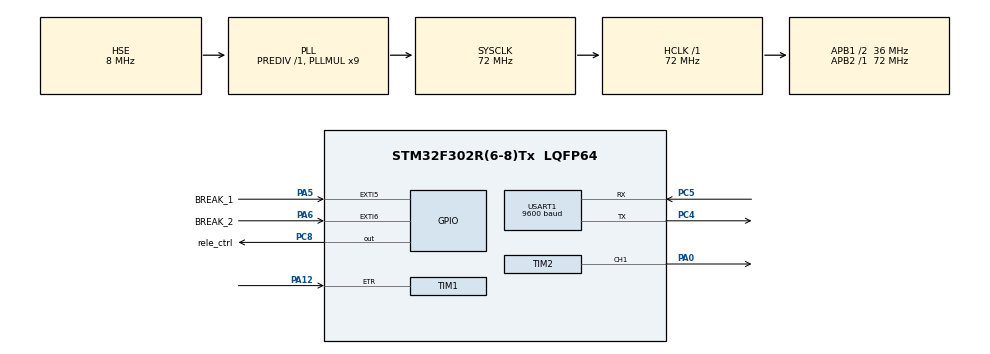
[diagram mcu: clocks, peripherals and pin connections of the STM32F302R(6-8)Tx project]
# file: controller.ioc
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FREERTOS.Queues01=input_queue,16,command,0,Dynamic,NULL,NULL;bluetooth_queue,16,char*,0,Dynamic,NULL,NULL
FREERTOS.Tasks01=bluetooth_task,24,128,BT_reader_funct,Default,NULL,Dynamic,NULL,NULL;motor_ctrl,24,128,MT_controller_funct,Default,NULL,Dynamic,NULL,NULL;sensors_task,8,128,Sensor_reader_funct,Default,NULL,Dynamic,NULL,NULL
FREERTOS.Timers01=timer_trava,callback_timer_trava,osTimerOnce,Default,NULL,Dynamic,NULL
FREERTOS.configLIBRARY_MAX_SYSCALL_INTERRUPT_PRIORITY=5
FREERTOS.configUSE_NEWLIB_REENTRANT=1
Mcu.Family=STM32F3
Mcu.Name=STM32F302R(6-8)Tx
Mcu.Package=LQFP64
Mcu.UserConstants=PulsesPerRound,12;pedal_max,15;pedal_min,3;pwm_max,200;pwm_min,100;minute,60000
NVIC.EXTI9_5_IRQn=true\:5\:0\:false\:false\:true\:true\:true\:true\:true
NVIC.PriorityGroup=NVIC_PRIORITYGROUP_4
NVIC.RTC_Alarm_IRQn=true\:5\:0\:false\:false\:true\:true\:true\:true\:true
NVIC.TIM6_DAC_IRQn=true\:15\:0\:false\:false\:true\:false\:false\:true\:true
NVIC.TimeBase=TIM6_DAC_IRQn
NVIC.TimeBaseIP=TIM6
PA0.Signal=S_TIM2_CH1_ETR
PA12.GPIO_PuPd=GPIO_PULLUP
PA12.Signal=S_TIM1_ETR
PA13.Mode=Trace_Asynchronous_SW
PA13.Signal=SYS_JTMS-SWDIO
PA14.Mode=Trace_Asynchronous_SW
PA14.Signal=SYS_JTCK-SWCLK
PA5.GPIO_Label=BREAK_1
PA5.GPIO_ModeDefaultEXTI=GPIO_MODE_IT_RISING
PA5.GPIO_PuPd=GPIO_PULLUP
PA5.Signal=GPXTI5
PA6.GPIO_Label=BREAK_2
PA6.GPIO_ModeDefaultEXTI=GPIO_MODE_IT_RISING_FALLING
PA6.GPIO_PuPd=GPIO_PULLUP
PA6.Signal=GPXTI6
PB3.Mode=Trace_Asynchronous_SW
PB3.Signal=SYS_JTDO-TRACESWO
PC4.Mode=Asynchronous
PC4.Signal=USART1_TX
PC5.Mode=Asynchronous
PC5.Signal=USART1_RX
PC8.GPIO_Label=rele_ctrl
PC8.PinState=GPIO_PIN_SET
PC8.Signal=GPIO_Output
PF0-OSC_IN.Mode=HSE-External-Oscillator
PF0-OSC_IN.Signal=RCC_OSC_IN
PF1-OSC_OUT.Mode=HSE-External-Oscillator
PF1-OSC_OUT.Signal=RCC_OSC_OUT
ProjectManager.HeapSize=0x200
ProjectManager.StackSize=0x400
ProjectManager.TargetToolchain=STM32CubeIDE
RCC.AHBFreq_Value=72000000
RCC.APB1CLKDivider=RCC_HCLK_DIV2
RCC.APB1Freq_Value=36000000
RCC.APB1TimFreq_Value=72000000
RCC.APB2Freq_Value=72000000
RCC.APB2TimFreq_Value=72000000
RCC.CortexFreq_Value=72000000
RCC.HCLKFreq_Value=72000000
RCC.HSE_VALUE=8000000
RCC.HSI_VALUE=8000000
RCC.LSE_VALUE=32768
RCC.PLLMUL=RCC_PLL_MUL9
RCC.PLLSourceVirtual=RCC_PLLSOURCE_HSE
RCC.SYSCLKFreq_VALUE=72000000
RCC.SYSCLKSourceVirtual=RCC_SYSCLKSOURCE_PLLCLK
RCC.USBFreq_Value=72000000
RTC.Alarm-Alarm\ A=RTC_ALARM_A
RTC.AlarmDateWeekDay-Alarm\ A=7
RTC.AlarmDateWeekDaySel-Alarm\ A=RTC_ALARMDATEWEEKDAYSEL_DATE
RTC.Hours_A-Alarm\ A=23
RTC.Minutes_A-Alarm\ A=59
RTC.Seconds_A-Alarm\ A=59
SH.S_TIM1_ETR.0=TIM1_ETR,ClockSourceETR_Mode2
SH.S_TIM2_CH1_ETR.0=TIM2_CH1,PWM Generation1 CH1
TIM1.ClockFilter=15
TIM1.ClockPolarity=TIM_CLOCKPOLARITY_INVERTED
TIM2.Channel-PWM\ Generation1\ CH1=TIM_CHANNEL_1
TIM2.Period=1000
TIM2.Prescaler=720
USART1.BaudRate=9600
USART1.VirtualMode-Asynchronous=VM_ASYNC
VP_FREERTOS_VS_CMSIS_V2.Mode=CMSIS_V2
VP_RTC_VS_RTC_Activate.Mode=RTC_Enabled
VP_RTC_VS_RTC_Alarm_A_Intern.Mode=Alarm A
VP_RTC_VS_RTC_Calendar.Mode=RTC_Calendar
VP_SYS_VS_tim6.Mode=TIM6
VP_TIM2_VS_ClockSourceINT.Mode=Internal
board=custom

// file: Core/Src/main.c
/* USER CODE BEGIN Header */
/* USER CODE END Header */
#include "main.h"
#include "cmsis_os.h"

/* USER CODE BEGIN Includes */
#include <string.h>
#include <stdio.h>
/* USER CODE END Includes */

/* USER CODE BEGIN PM */

/**
Struct to define the commands between tasks and the bluetooth
*/
typedef struct {
	 int button_id;
	 int button_status;
	 float sensor_value;
} command;

/**
This function is to convert the status mesages from FreeRTOS
into strings to be sent via bluetooth in case of error
*/
char* osStatusToString(osStatus_t status) {
    switch (status) {
        case osOK:
            return "OK: Operation completed successfully\r\n";
        case osError:
            return "osError: Unspecified error\r\n";
        case osErrorTimeout:
            return "Timeout: osErrorTimeout:  Operation timed out\r\n";
        case osErrorResource:
            return "Resource: osErrorResource: Resource not available\r\n";
        case osErrorParameter:
            return "Parameter: osErrorParameter: Parameter error\r\n";
        case osErrorNoMemory:
            return "NoMemory: osErrorNoMemory: System is out of memory\r\n";
        default:
            return "Unknown osStatus_t\r\n";
    }
}

/**
Simple function to map the values beetween the pedal sensor and the motor PWM
Later it should take in consideration other sensors such as gyro

The constants used in this function are defined in the main.h file
but should be edited via the controller.ioc file
*/
float MAP(float int_IN)
{
	 if (int_IN < pedal_min){return pwm_min;}
	 else if (int_IN > pedal_max){return pwm_max;}
	 else{
		return ((((int_IN - pedal_min)*(pwm_max - pwm_min))/(pedal_max - pedal_min)) + pwm_min);
	 }
}

/* USER CODE END PM */

RTC_HandleTypeDef hrtc;

TIM_HandleTypeDef htim1;
TIM_HandleTypeDef htim2;

UART_HandleTypeDef huart1;

/* Definitions for bluetooth_task */
osThreadId_t bluetooth_taskHandle;
const osThreadAttr_t bluetooth_task_attributes = {
  .name = "bluetooth_task",
  .stack_size = 128 * 4,
  .priority = (osPriority_t) osPriorityNormal,
};
/* Definitions for motor_ctrl */
osThreadId_t motor_ctrlHandle;
const osThreadAttr_t motor_ctrl_attributes = {
  .name = "motor_ctrl",
  .stack_size = 128 * 4,
  .priority = (osPriority_t) osPriorityNormal,
};
/* Definitions for sensors_task */
osThreadId_t sensors_taskHandle;
const osThreadAttr_t sensors_task_attributes = {
  .name = "sensors_task",
  .stack_size = 128 * 4,
  .priority = (osPriority_t) osPriorityLow,
};
/* Definitions for input_queue */
osMessageQueueId_t input_queueHandle;
const osMessageQueueAttr_t input_queue_attributes = {
  .name = "input_queue"
};
/* Definitions for bluetooth_queue */
osMessageQueueId_t bluetooth_queueHandle;
const osMessageQueueAttr_t bluetooth_queue_attributes = {
  .name = "bluetooth_queue"
};
/* Definitions for timer_trava */
osTimerId_t timer_travaHandle;
const osTimerAttr_t timer_trava_attributes = {
  .name = "timer_trava"
};

void SystemClock_Config(void);
static void MX_GPIO_Init(void);
static void MX_USART1_UART_Init(void);
static void MX_TIM1_Init(void);
static void MX_TIM2_Init(void);
static void MX_RTC_Init(void);
void BT_reader_funct(void *argument);
void MT_controller_funct(void *argument);
void Sensor_reader_funct(void *argument);
void callback_timer_trava(void *argument);

int main(void)
{

  /* MCU Configuration--------------------------------------------------------*/

  /* Reset of all peripherals, Initializes the Flash interface and the Systick. */
  HAL_Init();

  /* Configure the system clock */
  SystemClock_Config();

  /* Initialize all configured peripherals */
  MX_GPIO_Init();
  MX_USART1_UART_Init();
  MX_TIM1_Init();
  MX_TIM2_Init();
  MX_RTC_Init();

  /* Init scheduler */
  osKernelInitialize();

  /* Create the timer(s) */
  /* creation of timer_trava */
  timer_travaHandle = osTimerNew(callback_timer_trava, osTimerOnce, NULL, &timer_trava_attributes);

  /* Create the queue(s) */
  /* creation of input_queue */
  input_queueHandle = osMessageQueueNew (16, sizeof(command), &input_queue_attributes);

  /* creation of bluetooth_queue */
  bluetooth_queueHandle = osMessageQueueNew (16, sizeof(char*), &bluetooth_queue_attributes);

  /* Create the thread(s) */
  /* creation of bluetooth_task */
  bluetooth_taskHandle = osThreadNew(BT_reader_funct, NULL, &bluetooth_task_attributes);

  /* creation of motor_ctrl */
  motor_ctrlHandle = osThreadNew(MT_controller_funct, NULL, &motor_ctrl_attributes);

  /* creation of sensors_task */
  sensors_taskHandle = osThreadNew(Sensor_reader_funct, NULL, &sensors_task_attributes);

  /* Start scheduler */
  osKernelStart();

  /* We should never get here as control is now taken by the scheduler */
  /* Infinite loop */

}

void SystemClock_Config(void)
{
  RCC_OscInitTypeDef RCC_OscInitStruct = {0};
  RCC_ClkInitTypeDef RCC_ClkInitStruct = {0};
  RCC_PeriphCLKInitTypeDef PeriphClkInit = {0};

  /** Initializes the RCC Oscillators according to the specified parameters
  * in the RCC_OscInitTypeDef structure.
  */
  RCC_OscInitStruct.OscillatorType = RCC_OSCILLATORTYPE_LSI|RCC_OSCILLATORTYPE_HSE;
  RCC_OscInitStruct.HSEState = RCC_HSE_ON;
  RCC_OscInitStruct.HSEPredivValue = RCC_HSE_PREDIV_DIV1;
  RCC_OscInitStruct.HSIState = RCC_HSI_ON;
  RCC_OscInitStruct.LSIState = RCC_LSI_ON;
  RCC_OscInitStruct.PLL.PLLState = RCC_PLL_ON;
  RCC_OscInitStruct.PLL.PLLSource = RCC_PLLSOURCE_HSE;
  RCC_OscInitStruct.PLL.PLLMUL = RCC_PLL_MUL9;
  if (HAL_RCC_OscConfig(&RCC_OscInitStruct) != HAL_OK)
  {
    Error_Handler();
  }

  /** Initializes the CPU, AHB and APB buses clocks
  */
  RCC_ClkInitStruct.ClockType = RCC_CLOCKTYPE_HCLK|RCC_CLOCKTYPE_SYSCLK
                              |RCC_CLOCKTYPE_PCLK1|RCC_CLOCKTYPE_PCLK2;
  RCC_ClkInitStruct.SYSCLKSource = RCC_SYSCLKSOURCE_PLLCLK;
  RCC_ClkInitStruct.AHBCLKDivider = RCC_SYSCLK_DIV1;
  RCC_ClkInitStruct.APB1CLKDivider = RCC_HCLK_DIV2;
  RCC_ClkInitStruct.APB2CLKDivider = RCC_HCLK_DIV1;

  if (HAL_RCC_ClockConfig(&RCC_ClkInitStruct, FLASH_LATENCY_2) != HAL_OK)
  {
    Error_Handler();
  }
  PeriphClkInit.PeriphClockSelection = RCC_PERIPHCLK_USART1|RCC_PERIPHCLK_RTC
                              |RCC_PERIPHCLK_TIM1;
  PeriphClkInit.Usart1ClockSelection = RCC_USART1CLKSOURCE_PCLK1;
  PeriphClkInit.RTCClockSelection = RCC_RTCCLKSOURCE_LSI;
  PeriphClkInit.Tim1ClockSelection = RCC_TIM1CLK_HCLK;
  if (HAL_RCCEx_PeriphCLKConfig(&PeriphClkInit) != HAL_OK)
  {
    Error_Handler();
  }
}

static void MX_RTC_Init(void)
{

  RTC_TimeTypeDef sTime = {0};
  RTC_DateTypeDef sDate = {0};
  RTC_AlarmTypeDef sAlarm = {0};

  /** Initialize RTC Only
  */
  hrtc.Instance = RTC;
  hrtc.Init.HourFormat = RTC_HOURFORMAT_24;
  hrtc.Init.AsynchPrediv = 127;
  hrtc.Init.SynchPrediv = 255;
  hrtc.Init.OutPut = RTC_OUTPUT_DISABLE;
  hrtc.Init.OutPutPolarity = RTC_OUTPUT_POLARITY_HIGH;
  hrtc.Init.OutPutType = RTC_OUTPUT_TYPE_OPENDRAIN;
  if (HAL_RTC_Init(&hrtc) != HAL_OK)
  {
    Error_Handler();
  }

  /** Initialize RTC and set the Time and Date
  */
  sTime.Hours = 0x0;
  sTime.Minutes = 0x0;
  sTime.Seconds = 0x0;
  sTime.DayLightSaving = RTC_DAYLIGHTSAVING_NONE;
  sTime.StoreOperation = RTC_STOREOPERATION_RESET;
  if (HAL_RTC_SetTime(&hrtc, &sTime, RTC_FORMAT_BCD) != HAL_OK)
  {
    Error_Handler();
  }
  sDate.WeekDay = RTC_WEEKDAY_MONDAY;
  sDate.Month = RTC_MONTH_JANUARY;
  sDate.Date = 0x1;
  sDate.Year = 0x0;

  if (HAL_RTC_SetDate(&hrtc, &sDate, RTC_FORMAT_BCD) != HAL_OK)
  {
    Error_Handler();
  }

  /** Enable the Alarm A
  */
  sAlarm.AlarmTime.Hours = 0x23;
  sAlarm.AlarmTime.Minutes = 0x59;
  sAlarm.AlarmTime.Seconds = 0x59;
  sAlarm.AlarmTime.SubSeconds = 0x0;
  sAlarm.AlarmTime.DayLightSaving = RTC_DAYLIGHTSAVING_NONE;
  sAlarm.AlarmTime.StoreOperation = RTC_STOREOPERATION_RESET;
  sAlarm.AlarmMask = RTC_ALARMMASK_NONE;
  sAlarm.AlarmSubSecondMask = RTC_ALARMSUBSECONDMASK_ALL;
  sAlarm.AlarmDateWeekDaySel = RTC_ALARMDATEWEEKDAYSEL_DATE;
  sAlarm.AlarmDateWeekDay = 0x7;
  sAlarm.Alarm = RTC_ALARM_A;
  if (HAL_RTC_SetAlarm_IT(&hrtc, &sAlarm, RTC_FORMAT_BCD) != HAL_OK)
  {
    Error_Handler();
  }

}

static void MX_TIM1_Init(void)
{

  TIM_ClockConfigTypeDef sClockSourceConfig = {0};
  TIM_MasterConfigTypeDef sMasterConfig = {0};

  htim1.Instance = TIM1;
  htim1.Init.Prescaler = 0;
  htim1.Init.CounterMode = TIM_COUNTERMODE_UP;
  htim1.Init.Period = 65535;
  htim1.Init.ClockDivision = TIM_CLOCKDIVISION_DIV1;
  htim1.Init.RepetitionCounter = 0;
  htim1.Init.AutoReloadPreload = TIM_AUTORELOAD_PRELOAD_DISABLE;
  if (HAL_TIM_Base_Init(&htim1) != HAL_OK)
  {
    Error_Handler();
  }
  sClockSourceConfig.ClockSource = TIM_CLOCKSOURCE_ETRMODE2;
  sClockSourceConfig.ClockPolarity = TIM_CLOCKPOLARITY_INVERTED;
  sClockSourceConfig.ClockPrescaler = TIM_CLOCKPRESCALER_DIV1;
  sClockSourceConfig.ClockFilter = 15;
  if (HAL_TIM_ConfigClockSource(&htim1, &sClockSourceConfig) != HAL_OK)
  {
    Error_Handler();
  }
  sMasterConfig.MasterOutputTrigger = TIM_TRGO_RESET;
  sMasterConfig.MasterOutputTrigger2 = TIM_TRGO2_RESET;
  sMasterConfig.MasterSlaveMode = TIM_MASTERSLAVEMODE_DISABLE;
  if (HAL_TIMEx_MasterConfigSynchronization(&htim1, &sMasterConfig) != HAL_OK)
  {
    Error_Handler();
  }
  /* USER CODE BEGIN TIM1_Init 2 */
  HAL_TIM_Base_Start_IT(&htim1);

  /* USER CODE END TIM1_Init 2 */

}

static void MX_TIM2_Init(void)
{

  TIM_ClockConfigTypeDef sClockSourceConfig = {0};
  TIM_MasterConfigTypeDef sMasterConfig = {0};
  TIM_OC_InitTypeDef sConfigOC = {0};

  htim2.Instance = TIM2;
  htim2.Init.Prescaler = 720;
  htim2.Init.CounterMode = TIM_COUNTERMODE_UP;
  htim2.Init.Period = 1000;
  htim2.Init.ClockDivision = TIM_CLOCKDIVISION_DIV1;
  htim2.Init.AutoReloadPreload = TIM_AUTORELOAD_PRELOAD_DISABLE;
  if (HAL_TIM_Base_Init(&htim2) != HAL_OK)
  {
    Error_Handler();
  }
  sClockSourceConfig.ClockSource = TIM_CLOCKSOURCE_INTERNAL;
  if (HAL_TIM_ConfigClockSource(&htim2, &sClockSourceConfig) != HAL_OK)
  {
    Error_Handler();
  }
  if (HAL_TIM_PWM_Init(&htim2) != HAL_OK)
  {
    Error_Handler();
  }
  sMasterConfig.MasterOutputTrigger = TIM_TRGO_RESET;
  sMasterConfig.MasterSlaveMode = TIM_MASTERSLAVEMODE_DISABLE;
  if (HAL_TIMEx_MasterConfigSynchronization(&htim2, &sMasterConfig) != HAL_OK)
  {
    Error_Handler();
  }
  sConfigOC.OCMode = TIM_OCMODE_PWM1;
  sConfigOC.Pulse = 0;
  sConfigOC.OCPolarity = TIM_OCPOLARITY_HIGH;
  sConfigOC.OCFastMode = TIM_OCFAST_DISABLE;
  if (HAL_TIM_PWM_ConfigChannel(&htim2, &sConfigOC, TIM_CHANNEL_1) != HAL_OK)
  {
    Error_Handler();
  }
  HAL_TIM_MspPostInit(&htim2);

}

static void MX_USART1_UART_Init(void)
{

  huart1.Instance = USART1;
  huart1.Init.BaudRate = 9600;
  huart1.Init.WordLength = UART_WORDLENGTH_8B;
  huart1.Init.StopBits = UART_STOPBITS_1;
  huart1.Init.Parity = UART_PARITY_NONE;
  huart1.Init.Mode = UART_MODE_TX_RX;
  huart1.Init.HwFlowCtl = UART_HWCONTROL_NONE;
  huart1.Init.OverSampling = UART_OVERSAMPLING_16;
  huart1.Init.OneBitSampling = UART_ONE_BIT_SAMPLE_DISABLE;
  huart1.AdvancedInit.AdvFeatureInit = UART_ADVFEATURE_NO_INIT;
  if (HAL_UART_Init(&huart1) != HAL_OK)
  {
    Error_Handler();
  }

}

static void MX_GPIO_Init(void)
{
  GPIO_InitTypeDef GPIO_InitStruct = {0};

  /* GPIO Ports Clock Enable */
  __HAL_RCC_GPIOF_CLK_ENABLE();
  __HAL_RCC_GPIOA_CLK_ENABLE();
  __HAL_RCC_GPIOC_CLK_ENABLE();
  __HAL_RCC_GPIOB_CLK_ENABLE();

  /*Configure GPIO pin Output Level */
  HAL_GPIO_WritePin(rele_ctrl_GPIO_Port, rele_ctrl_Pin, GPIO_PIN_SET);

  /*Configure GPIO pin : BREAK_1_Pin */
  GPIO_InitStruct.Pin = BREAK_1_Pin;
  GPIO_InitStruct.Mode = GPIO_MODE_IT_RISING;
  GPIO_InitStruct.Pull = GPIO_PULLUP;
  HAL_GPIO_Init(BREAK_1_GPIO_Port, &GPIO_InitStruct);

  /*Configure GPIO pin : BREAK_2_Pin */
  GPIO_InitStruct.Pin = BREAK_2_Pin;
  GPIO_InitStruct.Mode = GPIO_MODE_IT_RISING_FALLING;
  GPIO_InitStruct.Pull = GPIO_PULLUP;
  HAL_GPIO_Init(BREAK_2_GPIO_Port, &GPIO_InitStruct);

  /*Configure GPIO pin : rele_ctrl_Pin */
  GPIO_InitStruct.Pin = rele_ctrl_Pin;
  GPIO_InitStruct.Mode = GPIO_MODE_OUTPUT_PP;
  GPIO_InitStruct.Pull = GPIO_NOPULL;
  GPIO_InitStruct.Speed = GPIO_SPEED_FREQ_LOW;
  HAL_GPIO_Init(rele_ctrl_GPIO_Port, &GPIO_InitStruct);

  /* EXTI interrupt init*/
  HAL_NVIC_SetPriority(EXTI9_5_IRQn, 5, 0);
  HAL_NVIC_EnableIRQ(EXTI9_5_IRQn);

}

/* USER CODE BEGIN 4 */

void HAL_RTC_AlarmAEventCallback(RTC_HandleTypeDef *hrtc) {
	command com;
	com.button_id = 3;
	com.button_status=1;
	osMessageQueuePut(input_queueHandle, &com, 0, 0);

	char* input_command = "End of the week\n";
	osMessageQueuePut(bluetooth_queueHandle, &input_command, 0, 0);
}

//This function is used to receive a string from the UART port
//It will return 1 if the string was received successfully, or 0 if there was an error
//The timeout parameter is used to set how long the function will wait for a character before giving up
//The received parameter is used to store the received string
//The huartX parameter is used to specify which UART port to use
//this function  was developt to try to read until finds the \n char
int FON_UART_Receive(char *received, uint16_t timeout,UART_HandleTypeDef *huartX) {
    HAL_StatusTypeDef status;
    unsigned char receivedChar;
    int index = 0;
    while (1) {
        status = HAL_UART_Receive(huartX, &receivedChar, 1, timeout); //tries to read next availabe byte in the buffer
        if (status == HAL_OK) { //verifies if the read was succesfull
            if (receivedChar == '\n') {
            	received[index] = '\0';
                return 1; //returns success value
            }
            else {
                received[index] = receivedChar;
                index++; //keeps reading
            }
        }
        else {
            received[0] = '\0';
            return 0; //returns error value
        }
    }
}

/*
 * Callbeck for the interruption from some IO pins
 * In our case, both brake handles are dealt with here
 * by simmply adding the correct  command in the queue
 *
 * Import to note that in interruptions, the waittime argument for queues MUST be 0
*/
void HAL_GPIO_EXTI_Callback(uint16_t GPIO_Pin){
	command com;

	if (GPIO_Pin == BREAK_1_Pin ) {
		com.button_id 		= 1;
		if (HAL_GPIO_ReadPin(BREAK_1_GPIO_Port, GPIO_Pin) == GPIO_PIN_SET) { //because of this line, it was necessary to split both pins
			// Your code for rising edge -> released
			com.button_status  	= 0;
		}
		else {
			// Your code for falling edge -> pressed
			com.button_status  	= 1;
		}
	}
	else if (GPIO_Pin == BREAK_2_Pin ) {
		com.button_id 		= 1;
		if (HAL_GPIO_ReadPin(BREAK_2_GPIO_Port, GPIO_Pin) == GPIO_PIN_SET) {
			// Your code for rising edge -> released
			com.button_status  	= 0;
		} else {
			// Your code for falling edge -> pressed
			com.button_status  	= 1;
		}
	}

	osStatus_t status 	=  osMessageQueuePut(input_queueHandle, &com, 0, 0); //this block tries to sent to the  input_queue
	if (status != osOK){													 // in case it  fails,
		char* str = osStatusToString(status);								 // then sent the error to the bluetooth_queue
		osMessageQueuePut(bluetooth_queueHandle, &str, 0, 0);
	}
}

void backup_write(uint32_t reg){
	   HAL_PWR_EnableBkUpAccess();
	   // Writes a data in a RTC Backup data Register 1
	   HAL_RTCEx_BKUPWrite(&hrtc, RTC_BKP_DR0, reg);
	   HAL_PWR_DisableBkUpAccess();
}

/* USER CODE END 4 */

void BT_reader_funct(void *argument)
{
  /* USER CODE BEGIN 5 */
	unsigned char str[8] ="\nInit\n";  //initial post to confirm
	HAL_UART_Transmit(&huart1, str, sizeof(str), 500);

	char* res;
    char receivedData[32];
	command com;
	while (1) {
	        if (FON_UART_Receive(receivedData,500, &huart1)){
	        	if (strlen(receivedData)==3){ //strlen function returns the "used" len of a string, not the allocated size
	        		com.button_id 		= receivedData[0] - '0'; //the commands come in the form of 3 digits, so this 2 lines turn
					com.button_status  	= 10*(receivedData[1] - '0') + (receivedData[2] - '0'); //the string of len3 into 2 ints
					osMessageQueuePut(input_queueHandle, &com, 0, 2000);
	        	}
	        }

	        while (1){
	        	if (osMessageQueueGet(bluetooth_queueHandle, &res, NULL, 250) == osOK) {
	        	    HAL_UART_Transmit(&huart1, res, strlen(res), 1000);
	        	}
	        	else{
	        		break;
	        	}

	        }

	        osDelay(500);
	        //osThreadYield();
	}

  /* USER CODE END 5 */
}

void MT_controller_funct(void *argument)
{
  /* USER CODE BEGIN MT_controller_funct */
  /* Infinite loop */
	HAL_TIM_PWM_Start(&htim2, TIM_CHANNEL_1);

	//variables for the finite state machine
	int lock = 0; 		//binary indicator for the  locking
	int onhold=0;
	int brk = 0;  		//binary indicator for the  brake
	int stationary = 0; //binaryh indicator the bike has fully stopped
	float freq = 0.0; 	//float for the  frequencie sent by the sensor
	float output = 0.0; //float for the  frequencie post MAP function
	int freq_int; 		//int  to sent to the bluetooth the value of  freq (I had issues formating string with float)

	command com;
	char* input_command,decision;
	uint32_t reg = HAL_RTCEx_BKUPRead(&hrtc, RTC_BKP_DR0);
	osTimerStart(timer_travaHandle, minute*0.5);

	 if ((reg != 0) && (reg != 1) ){
			   // Write Back Up Register 1 Data
		 	   backup_write(0);
			   asprintf(&input_command, "Starting value: %d\n", 0);
			   osMessageQueuePut(bluetooth_queueHandle, &input_command, 0, 2000);
	 }
	 else{
			 lock = (int) reg;
			 asprintf(&input_command, "MEM read: %d\n", lock);
			 osMessageQueuePut(bluetooth_queueHandle, &input_command, 0, 2000);

	 }

	while(1){
		if (osMessageQueueGet(input_queueHandle, &com, NULL, 2000)== osOK){
			if(com.button_id==1){
				brk = com.button_status;
				if (brk){ input_command = "FREIOU \n";} //this lines just return the action to the bluetooth
				else{ input_command = "SOLTOU\n";}		// might delete them in the final version
			}
			else if(com.button_id==2){
					freq = (com.sensor_value)*10000;
					input_command = "";					//this lines just return the action to the bluetooth
					freq_int = (int) freq;				// might delete them in the final version
					asprintf(&input_command, "FREQ(Hz): %d\n", freq_int);

					stationary=0;
					osTimerStop(timer_travaHandle);
					osTimerStart(timer_travaHandle, minute*3);
			}
			else if(com.button_id==9){
				onhold = com.button_status;
				if (onhold){
					input_command = "lock\n";} 	//this lines just return the action to the bluetooth
				else{
					input_command = "UNlock\n";
					RTC_DateTypeDef currentDate; // Create a structure to get the current date
					HAL_RTC_GetDate(&hrtc, &currentDate, RTC_FORMAT_BIN); // Get the current date
					currentDate.Date = (currentDate.Date + 7) % 31; // Adjust for the maximum day in a month

					HAL_RTC_DeactivateAlarm(&hrtc, RTC_ALARM_A);
					  RTC_AlarmTypeDef sAlarm = {0};
					  sAlarm.AlarmTime.Hours = 0x23;
					  sAlarm.AlarmTime.Minutes = 0x59;
					  sAlarm.AlarmTime.Seconds = 0x59;
					  sAlarm.AlarmTime.SubSeconds = 0x0;
					  sAlarm.AlarmTime.DayLightSaving = RTC_DAYLIGHTSAVING_NONE;
					  sAlarm.AlarmTime.StoreOperation = RTC_STOREOPERATION_RESET;
					  sAlarm.AlarmMask = RTC_ALARMMASK_NONE;
					  sAlarm.AlarmSubSecondMask = RTC_ALARMSUBSECONDMASK_ALL;
					  sAlarm.AlarmDateWeekDaySel = RTC_ALARMDATEWEEKDAYSEL_DATE;
					  sAlarm.AlarmDateWeekDay = currentDate.Date;
					  sAlarm.Alarm = RTC_ALARM_A;
					  if (HAL_RTC_SetAlarm_IT(&hrtc, &sAlarm, RTC_FORMAT_BCD) != HAL_OK)
					  {
					    Error_Handler();
					  }
				}
				backup_write(lock);
			}
			else if(com.button_id==3){
				stationary = com.button_status;
				input_command = "stoped\n"; 	//this lines just return the action to the bluetooth
			}
			osMessageQueuePut(bluetooth_queueHandle, &input_command, 0, 2000);

		}
		else{
			input_command = "No new input\n";
			osMessageQueuePut(bluetooth_queueHandle, &input_command, 0, 2000);

		}

		if (stationary){
			lock=onhold;
			output=666;
		}
		if(!lock){
			if (!brk){
				//normal movemente
				output = MAP(freq);
			}
			else{
				//nether motor or lock
			output = pwm_min;
			}
			HAL_GPIO_WritePin(rele_ctrl_GPIO_Port, rele_ctrl_Pin, 1);
			htim2.Instance->CCR1 = output;
		}
		else{
			//call locking function
			// it is still not defined what to do when locking the bike
			//but the code will go here
			HAL_GPIO_WritePin(rele_ctrl_GPIO_Port, rele_ctrl_Pin, 0);
			htim2.Instance->CCR1 = pwm_min;
		}

		//return status to phone
		asprintf(&decision, "OUTPUT: %d\n", (int)output);
		osMessageQueuePut(bluetooth_queueHandle, &decision, 0, 2000);

		osThreadYield();
		//osDelay(1000);

	}
  /* USER CODE END MT_controller_funct */
}

void Sensor_reader_funct(void *argument)
{
  /* USER CODE BEGIN Sensor_reader_funct */
  /* Infinite loop */
	int delay = 500;				//int to define  how often the sensors will be read
	float rpm_input, rpm_old = 0;	// both current and old pedal measures
	int counter;					// value read from the periferal
	command com;
	com.button_id = 2;				// code of the comand to be sent
	while(1){
        counter = __HAL_TIM_GET_COUNTER(&htim1); //getter for the nummber of pulses
        rpm_input =(float) 1.0*counter/(PulsesPerRound*delay);
		com.sensor_value = rpm_input;
		if (counter != rpm_old){
			osMessageQueuePut(input_queueHandle, &com, 0, 500);
		}
		__HAL_TIM_SET_COUNTER(&htim1,0);

		rpm_old = counter;
		osDelay(delay);
        //osThreadYield();

	}
  /* USER CODE END Sensor_reader_funct */
}

/* callback_timer_trava function */
void callback_timer_trava(void *argument)
{
  /* USER CODE BEGIN callback_timer_trava */
	command com;
	com.button_id = 3;
	com.button_status=1;
	osMessageQueuePut(input_queueHandle, &com, 0, 0);

	char* input_command = "Now able to lock!!!!!!!!\n";
	osMessageQueuePut(bluetooth_queueHandle, &input_command, 0, 0);
  /* USER CODE END callback_timer_trava */
}

void HAL_TIM_PeriodElapsedCallback(TIM_HandleTypeDef *htim)
{
  if (htim->Instance == TIM6) {
    HAL_IncTick();
  }
}

void Error_Handler(void)
{
  /* USER CODE BEGIN Error_Handler_Debug */
	char* str = "ERROR_HANDLER CALLED";
	osMessageQueuePut(bluetooth_queueHandle, &str, 0, 0);
  /* USER CODE END Error_Handler_Debug */
}
